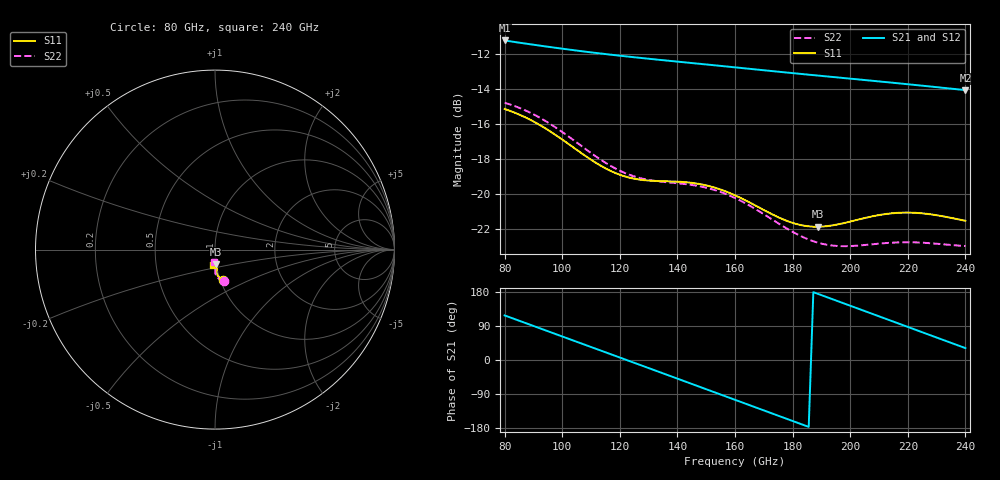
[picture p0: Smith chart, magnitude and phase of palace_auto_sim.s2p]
#  GHZ S DB R 50
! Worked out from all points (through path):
!   101 points, 80 GHz to 240 GHz, reference 50 ohm
!   highest |S21| = -11.24 dB at 80 GHz (marker M1); lowest = -14.1 dB at 240 GHz (marker M2)
!   group delay of S21, straight-line fit = 7.75 ps
!   lowest |S11| = -21.8 dB at 188.8 GHz (marker M3), VSWR 1.18, Z = 49.6 - j8.07 ohm
!   |S11| at or under -10 dB: start of sweep to end of sweep
!   |S22| runs from -23.0 to -14.8 dB; largest |S21 - S12| = 3.6e-14
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80  -15.14 -74.5  -11.24 117.7  -11.24 117.7  -14.79 -74.2
86.4  -15.55 -77.9  -11.40 99.9  -11.40 99.9  -15.16 -78.1
92.8  -16.11 -81.3  -11.55 82.1  -11.55 82.1  -15.69 -82.2
99.2  -16.79 -84.1  -11.69 64.3  -11.69 64.3  -16.36 -85.7
107.2  -17.72 -86.0  -11.86 42.1  -11.86 42.1  -17.31 -88.6
113.6  -18.39 -85.9  -11.99 24.3  -11.99 24.3  -18.05 -89.4
120  -18.88 -85.0  -12.11 6.5  -12.11 6.5  -18.65 -89.1
126.4  -19.15 -83.9  -12.22 -11.3  -12.22 -11.3  -19.05 -88.4
134.4  -19.25 -83.7  -12.35 -33.5  -12.35 -33.5  -19.28 -88.3
147.2  -19.40 -86.9  -12.56 -69.3  -12.56 -69.3  -19.53 -91.5
153.6  -19.65 -89.3  -12.66 -87.2  -12.66 -87.2  -19.79 -94.1
160  -20.06 -91.5  -12.77 -105.1  -12.77 -105.1  -20.21 -96.8
166.4  -20.58 -92.8  -12.88 -122.9  -12.88 -122.9  -20.77 -98.9
174.4  -21.26 -92.5  -13.01 -145.3  -13.01 -145.3  -21.59 -99.9
180.8  -21.66 -90.9  -13.11 -163.1  -13.11 -163.1  -22.21 -99.2
187.2  -21.84 -88.6  -13.21 179.0  -13.21 179.0  -22.67 -97.3
188.8  -21.84 -88.0  -13.24 174.5  -13.24 174.5  -22.75 -96.7
195.2  -21.73 -86.3  -13.34 156.6  -13.34 156.6  -22.94 -94.5
203.2  -21.42 -86.0  -13.46 134.3  -13.46 134.3  -22.91 -92.6
214.4  -21.08 -88.5  -13.64 103.0  -13.64 103.0  -22.75 -92.5
227.2  -21.12 -92.9  -13.85 67.2  -13.85 67.2  -22.78 -94.2
240  -21.51 -96.0  -14.07 31.4  -14.07 31.4  -22.94 -95.3
